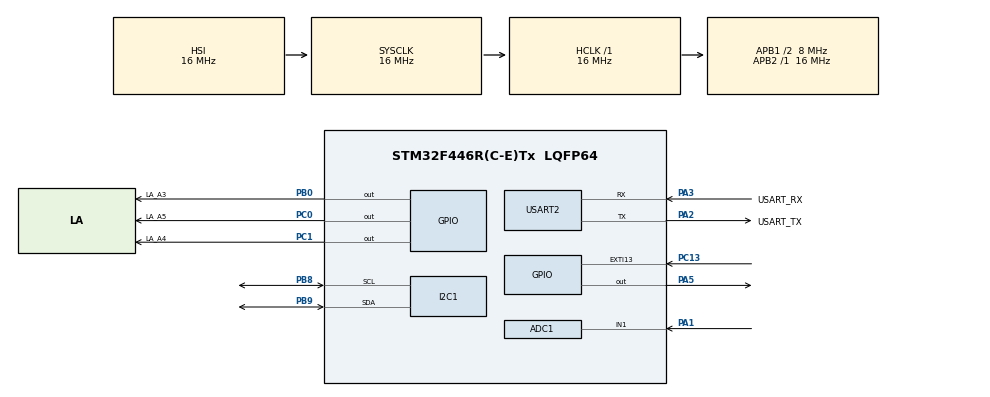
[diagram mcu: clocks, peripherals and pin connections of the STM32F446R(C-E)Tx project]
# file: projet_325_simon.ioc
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ADC1.Channel-1\#ChannelRegularConversion=ADC_CHANNEL_1
ADC1.Channel-10\#ChannelRegularConversion=ADC_CHANNEL_1
ADC1.Channel-2\#ChannelRegularConversion=ADC_CHANNEL_1
ADC1.Channel-3\#ChannelRegularConversion=ADC_CHANNEL_1
ADC1.Channel-4\#ChannelRegularConversion=ADC_CHANNEL_1
ADC1.Channel-5\#ChannelRegularConversion=ADC_CHANNEL_1
ADC1.Channel-6\#ChannelRegularConversion=ADC_CHANNEL_1
ADC1.Channel-7\#ChannelRegularConversion=ADC_CHANNEL_1
ADC1.Channel-8\#ChannelRegularConversion=ADC_CHANNEL_1
ADC1.Channel-9\#ChannelRegularConversion=ADC_CHANNEL_1
ADC1.ClockPrescaler=ADC_CLOCK_SYNC_PCLK_DIV2
ADC1.DMAContinuousRequests=ENABLE
ADC1.EOCSelection=ADC_EOC_SEQ_CONV
ADC1.ExternalTrigConv=ADC_EXTERNALTRIGCONV_T2_TRGO
ADC1.ExternalTrigConvEdge=ADC_EXTERNALTRIGCONVEDGE_RISING
ADC1.InjNumberOfConversion=0
ADC1.NbrOfConversion=10
ADC1.NbrOfConversionFlag=1
ADC1.Rank-1\#ChannelRegularConversion=1
ADC1.Rank-10\#ChannelRegularConversion=10
ADC1.Rank-2\#ChannelRegularConversion=2
ADC1.Rank-3\#ChannelRegularConversion=3
ADC1.Rank-4\#ChannelRegularConversion=4
ADC1.Rank-5\#ChannelRegularConversion=5
ADC1.Rank-6\#ChannelRegularConversion=6
ADC1.Rank-7\#ChannelRegularConversion=7
ADC1.Rank-8\#ChannelRegularConversion=8
ADC1.Rank-9\#ChannelRegularConversion=9
ADC1.SamplingTime-1\#ChannelRegularConversion=ADC_SAMPLETIME_3CYCLES
ADC1.SamplingTime-10\#ChannelRegularConversion=ADC_SAMPLETIME_3CYCLES
ADC1.SamplingTime-2\#ChannelRegularConversion=ADC_SAMPLETIME_3CYCLES
ADC1.SamplingTime-3\#ChannelRegularConversion=ADC_SAMPLETIME_3CYCLES
ADC1.SamplingTime-4\#ChannelRegularConversion=ADC_SAMPLETIME_3CYCLES
ADC1.SamplingTime-5\#ChannelRegularConversion=ADC_SAMPLETIME_3CYCLES
ADC1.SamplingTime-6\#ChannelRegularConversion=ADC_SAMPLETIME_3CYCLES
ADC1.SamplingTime-7\#ChannelRegularConversion=ADC_SAMPLETIME_3CYCLES
ADC1.SamplingTime-8\#ChannelRegularConversion=ADC_SAMPLETIME_3CYCLES
ADC1.SamplingTime-9\#ChannelRegularConversion=ADC_SAMPLETIME_3CYCLES
ADC1.ScanConvMode=ENABLE
ADC1.master=1
Dma.ADC1.0.Direction=DMA_PERIPH_TO_MEMORY
Dma.ADC1.0.FIFOMode=DMA_FIFOMODE_DISABLE
Dma.ADC1.0.Instance=DMA2_Stream0
Dma.ADC1.0.MemDataAlignment=DMA_MDATAALIGN_HALFWORD
Dma.ADC1.0.MemInc=DMA_MINC_ENABLE
Dma.ADC1.0.Mode=DMA_CIRCULAR
Dma.ADC1.0.PeriphDataAlignment=DMA_PDATAALIGN_HALFWORD
Dma.ADC1.0.PeriphInc=DMA_PINC_DISABLE
Dma.ADC1.0.Priority=DMA_PRIORITY_HIGH
Dma.Request0=ADC1
Mcu.Family=STM32F4
Mcu.Name=STM32F446R(C-E)Tx
Mcu.Package=LQFP64
NUCLEO-F446RE.BUTTON=1
NUCLEO-F446RE.LD1=true
NVIC.DMA2_Stream0_IRQn=true\:0\:0\:false\:false\:true\:false\:true\:true
NVIC.EXTI15_10_IRQn=true\:0\:0\:false\:false\:true\:false\:true\:true
NVIC.PriorityGroup=NVIC_PRIORITYGROUP_0
PA1.Signal=ADCx_IN1
PA13.GPIO_Label=TMS
PA13.Signal=SYS_JTMS-SWDIO
PA14.GPIO_Label=TCK
PA14.Signal=SYS_JTCK-SWCLK
PA2.GPIO_Label=USART_TX
PA2.Mode=Asynchronous
PA2.Signal=USART2_TX
PA3.GPIO_Label=USART_RX
PA3.Mode=Asynchronous
PA3.Signal=USART2_RX
PA5.Signal=GPIO_Output
PB0.GPIO_Label=LA_A3
PB0.Signal=GPIO_Output
PB3.GPIO_Label=SWO
PB3.Signal=SYS_JTDO-SWO
PB8.GPIO_Pu=GPIO_PULLUP
PB8.Mode=I2C
PB8.Signal=I2C1_SCL
PB9.GPIO_Pu=GPIO_PULLUP
PB9.Mode=I2C
PB9.Signal=I2C1_SDA
PC0.GPIO_Label=LA_A5
PC0.Signal=GPIO_Output
PC1.GPIO_Label=LA_A4
PC1.Signal=GPIO_Output
PC13.Signal=GPXTI13
PC14-OSC32_IN.Signal=RCC_OSC32_IN
PC15-OSC32_OUT.Signal=RCC_OSC32_OUT
PH0-OSC_IN.Signal=RCC_OSC_IN
PH1-OSC_OUT.Signal=RCC_OSC_OUT
ProjectManager.HeapSize=0x200
ProjectManager.StackSize=0x400
ProjectManager.TargetToolchain=STM32CubeIDE
RCC.AHBFreq_Value=16000000
RCC.APB1CLKDivider=RCC_HCLK_DIV2
RCC.APB1Freq_Value=8000000
RCC.APB1TimFreq_Value=16000000
RCC.APB2Freq_Value=16000000
RCC.APB2TimFreq_Value=16000000
RCC.CortexFreq_Value=16000000
RCC.FLatency-AdvancedSettings=FLASH_LATENCY_0
RCC.HCLKFreq_Value=16000000
RCC.HSE_VALUE=8000000
RCC.HSI_VALUE=16000000
RCC.LSE_VALUE=32768
RCC.PLLN=336
RCC.PLLP=RCC_PLLP_DIV4
RCC.SYSCLKFreq_VALUE=16000000
RCC.USBFreq_Value=168000000
RCC.VCOOutputFreq_Value=336000000
SH.ADCx_IN1.0=ADC1_IN1,IN1
TIM2.Period=10-1
TIM2.Prescaler=16000-1
TIM2.TIM_MasterOutputTrigger=TIM_TRGO_UPDATE
USART2.VirtualMode=VM_ASYNC
VP_NUCLEO-F446RE_VS_BSP_COMMON.Mode=COMMON
VP_TIM2_VS_ClockSourceINT.Mode=Internal
board=NUCLEO-F446RE

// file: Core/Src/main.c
/* USER CODE BEGIN Header */
/**
  ******************************************************************************
  * @file           : main.c
  * @brief          : Main program body
  ******************************************************************************
  * @attention
  *
  * Copyright (c) 2026 STMicroelectronics.
  * All rights reserved.
  *
  * This software is licensed under terms that can be found in the LICENSE file
  * in the root directory of this software component.
  * If no LICENSE file comes with this software, it is provided AS-IS.
  *
  ******************************************************************************
  */
/* USER CODE END Header */
#include "main.h"
#include "adc.h"
#include "dma.h"
#include "i2c.h"
#include "tim.h"
#include "usart.h"
#include "gpio.h"

/* USER CODE BEGIN Includes */
#include "application.h"
/* USER CODE END Includes */

void SystemClock_Config(void);

int main(void)
{

  /* MCU Configuration--------------------------------------------------------*/

  /* Reset of all peripherals, Initializes the Flash interface and the Systick. */
  HAL_Init();

  /* Configure the system clock */
  SystemClock_Config();

  /* Initialize all configured peripherals */
  MX_GPIO_Init();
  MX_DMA_Init();
  MX_ADC1_Init();
  MX_TIM2_Init();
  MX_USART2_UART_Init();
  MX_I2C1_Init();

  /* Initialize leds */
  BSP_LED_Init(LED2);

  /* Initialize USER push-button, will be used to trigger an interrupt each time it's pressed.*/
  BSP_PB_Init(BUTTON_USER, BUTTON_MODE_EXTI);

  /* Infinite loop */
  /* USER CODE BEGIN WHILE */
  app_config_t config;
  config.h_adc = &hadc1;
  config.h_i2c = &hi2c1;
  config.h_tim = &htim2;
  config.la_a3.port     = LA_A3_GPIO_Port;
  config.la_a3.pin      = LA_A3_Pin;
  config.la_a3.state    = GPIO_PIN_RESET;
  config.la_a4.port     = LA_A4_GPIO_Port;
  config.la_a4.pin      = LA_A4_Pin;
  config.la_a4.state    = GPIO_PIN_RESET;
  config.la_a5.port     = LA_A5_GPIO_Port;
  config.la_a5.pin      = LA_A5_Pin;
  config.la_a5.state    = GPIO_PIN_RESET;
  app_init(&config);
  app_process_loop();

  while (1)
  {

    /* USER CODE END WHILE */

  }
}

void SystemClock_Config(void)
{
  RCC_OscInitTypeDef RCC_OscInitStruct = {0};
  RCC_ClkInitTypeDef RCC_ClkInitStruct = {0};

  /** Configure the main internal regulator output voltage
  */
  __HAL_RCC_PWR_CLK_ENABLE();
  __HAL_PWR_VOLTAGESCALING_CONFIG(PWR_REGULATOR_VOLTAGE_SCALE3);

  /** Initializes the RCC Oscillators according to the specified parameters
  * in the RCC_OscInitTypeDef structure.
  */
  RCC_OscInitStruct.OscillatorType = RCC_OSCILLATORTYPE_HSI;
  RCC_OscInitStruct.HSIState = RCC_HSI_ON;
  RCC_OscInitStruct.HSICalibrationValue = RCC_HSICALIBRATION_DEFAULT;
  RCC_OscInitStruct.PLL.PLLState = RCC_PLL_NONE;
  if (HAL_RCC_OscConfig(&RCC_OscInitStruct) != HAL_OK)
  {
    Error_Handler();
  }

  /** Initializes the CPU, AHB and APB buses clocks
  */
  RCC_ClkInitStruct.ClockType = RCC_CLOCKTYPE_HCLK|RCC_CLOCKTYPE_SYSCLK
                              |RCC_CLOCKTYPE_PCLK1|RCC_CLOCKTYPE_PCLK2;
  RCC_ClkInitStruct.SYSCLKSource = RCC_SYSCLKSOURCE_HSI;
  RCC_ClkInitStruct.AHBCLKDivider = RCC_SYSCLK_DIV1;
  RCC_ClkInitStruct.APB1CLKDivider = RCC_HCLK_DIV2;
  RCC_ClkInitStruct.APB2CLKDivider = RCC_HCLK_DIV1;

  if (HAL_RCC_ClockConfig(&RCC_ClkInitStruct, FLASH_LATENCY_0) != HAL_OK)
  {
    Error_Handler();
  }
}

void Error_Handler(void)
{
  __disable_irq();
  while (1)
  {
  }
}
